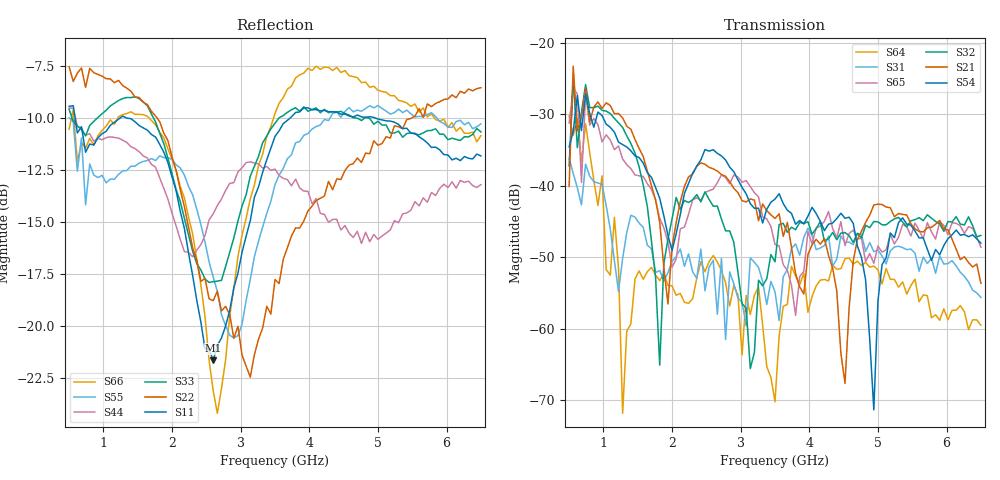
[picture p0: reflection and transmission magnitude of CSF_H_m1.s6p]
!Keysight Technologies,M9804A,MY58100912,A.14.10.03
!Date: Thursday, April 27, 2023 10:28:33
!Correction: S11(C  6-Port  )
!S12(C  6-Port  )
!S13(C  6-Port  )
!S14(C  6-Port  )
!S15(C  6-Port  )
!S16(C  6-Port  )
!S21(C  6-Port  )
!S22(C  6-Port  )
!S23(C  6-Port  )
!S24(C  6-Port  )
!S25(C  6-Port  )
!S26(C  6-Port  )
!S31(C  6-Port  )
!S32(C  6-Port  )
!S33(C  6-Port  )
!S34(C  6-Port  )
!S35(C  6-Port  )
!S36(C  6-Port  )
!S41(C  6-Port  )
!S42(C  6-Port  )
!S43(C  6-Port  )
!S44(C  6-Port  )
!S45(C  6-Port  )
!S46(C  6-Port  )
!S51(C  6-Port  )
!S52(C  6-Port  )
!S53(C  6-Port  )
!S54(C  6-Port  )
!S55(C  6-Port  )
!S56(C  6-Port  )
!S61(C  6-Port  )
!S62(C  6-Port  )
!S63(C  6-Port  )
!S64(C  6-Port  )
!S65(C  6-Port  )
!S66(C  6-Port  )
!S6P File: Measurement: :
# Hz S  RI  R 50
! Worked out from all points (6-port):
!   101 points, 500 MHz to 6.5 GHz, reference 50 ohm
!   strongest paths, dB at 500 MHz, 2 GHz, 3.5 GHz, 5 GHz, 6.5 GHz:
!     S54: -34.6, -49.1, -41.9, -56.1, -48.0
!     S21: -40.1, -48.5, -44.6, -42.6, -53.7
!     S32: -37.2, -44.6, -50.7, -45.1, -47.0
!     S65: -31.2, -51.4, -48.2, -48.5, -48.6
!     S31: -36.2, -50.6, -54.9, -49.0, -55.6
!     S64: -30.3, -54.0, -70.3, -51.8, -59.5
!   lowest |S11| = -21.7 dB at 2.6 GHz (marker M1), VSWR 1.18, Z = 42.6 + j2.03 ohm
!   |S11| at or under -10 dB: 587.6 MHz to 1.239 GHz (651 MHz wide, 71.3 % of centre); 1.36 GHz to 3.716 GHz (2.356 GHz wide, 92.8 % of centre); 4.972 GHz to end of sweep
